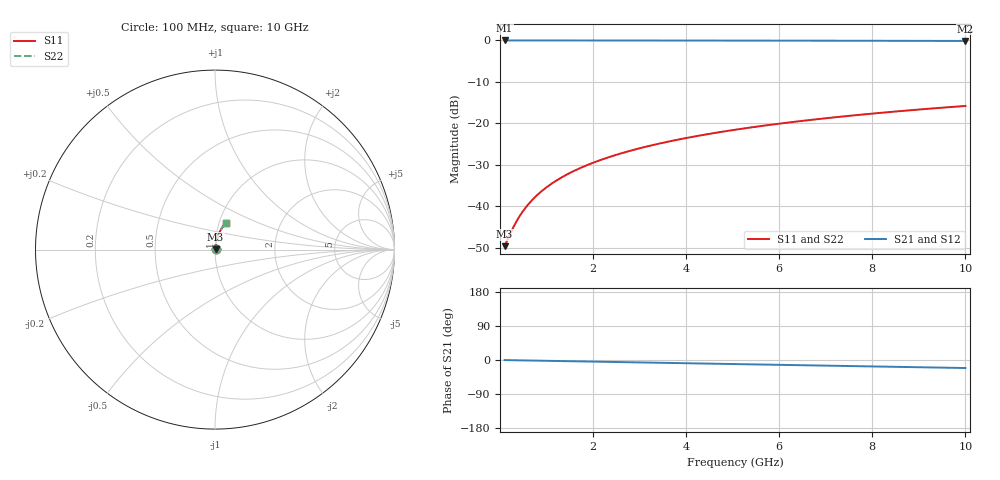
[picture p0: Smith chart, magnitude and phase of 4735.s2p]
# Hz S RI R 50.00
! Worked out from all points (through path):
!   100 points, 100 MHz to 10 GHz, reference 50 ohm
!   highest |S21| = -0.02 dB at 100 MHz (marker M1); lowest = -0.1 dB at 10 GHz (marker M2)
!   group delay of S21, straight-line fit = 5.89 ps
!   lowest |S11| = -49.6 dB at 100 MHz (marker M3), VSWR 1.01, Z = 50.3 + j0.167 ohm
!   |S11| at or under -10 dB: start of sweep to end of sweep
!   |S22| runs from -49.6 to -15.8 dB; largest |S21 - S12| = 0
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1e8  0.00286 0.00166  0.9971 -0.00371  0.9971 -0.00371  0.00286 0.00166
2e8  0.00289 0.00331  0.9971 -0.00741  0.9971 -0.00741  0.00289 0.00331
3e8  0.00294 0.00497  0.997 -0.0111  0.997 -0.0111  0.00294 0.00497
4e8  0.00299 0.00662  0.997 -0.0148  0.997 -0.0148  0.00299 0.00662
5e8  0.00306 0.00828  0.9969 -0.0185  0.9969 -0.0185  0.00306 0.00828
6e8  0.00313 0.00993  0.9968 -0.0222  0.9968 -0.0222  0.00313 0.00993
7e8  0.00322 0.0116  0.9967 -0.0259  0.9967 -0.0259  0.00322 0.0116
9e8  0.00343 0.0149  0.9964 -0.0333  0.9964 -0.0333  0.00343 0.0149
1e9  0.00355 0.0165  0.9962 -0.037  0.9962 -0.037  0.00355 0.0165
1.2e9  0.00383 0.0198  0.9958 -0.0444  0.9958 -0.0444  0.00383 0.0198
1.5e9  0.00434 0.0248  0.9952 -0.0555  0.9952 -0.0555  0.00434 0.0248
1.8e9  0.00496 0.0297  0.9943 -0.0666  0.9943 -0.0666  0.00496 0.0297
2.1e9  0.00569 0.0346  0.9933 -0.0777  0.9933 -0.0777  0.00569 0.0346
2.5e9  0.00683 0.0411  0.9918 -0.0924  0.9918 -0.0924  0.00683 0.0411
2.9e9  0.00816 0.0476  0.99 -0.1071  0.99 -0.1071  0.00816 0.0476
3.4e9  0.0101 0.0556  0.9874 -0.1254  0.9874 -0.1254  0.0101 0.0556
4.2e9  0.0138 0.0683  0.9824 -0.1545  0.9824 -0.1545  0.0138 0.0683
5.1e9  0.0188 0.0823  0.9756 -0.1869  0.9756 -0.1869  0.0188 0.0823
5.9e9  0.0241 0.0943  0.9684 -0.2154  0.9684 -0.2154  0.0241 0.0943
6.7e9  0.03 0.1061  0.9603 -0.2436  0.9603 -0.2436  0.03 0.1061
8.4e9  0.0449 0.1296  0.94 -0.3022  0.94 -0.3022  0.0449 0.1296
1e10  0.0613 0.1499  0.9171 -0.3554  0.9171 -0.3554  0.0613 0.1499
